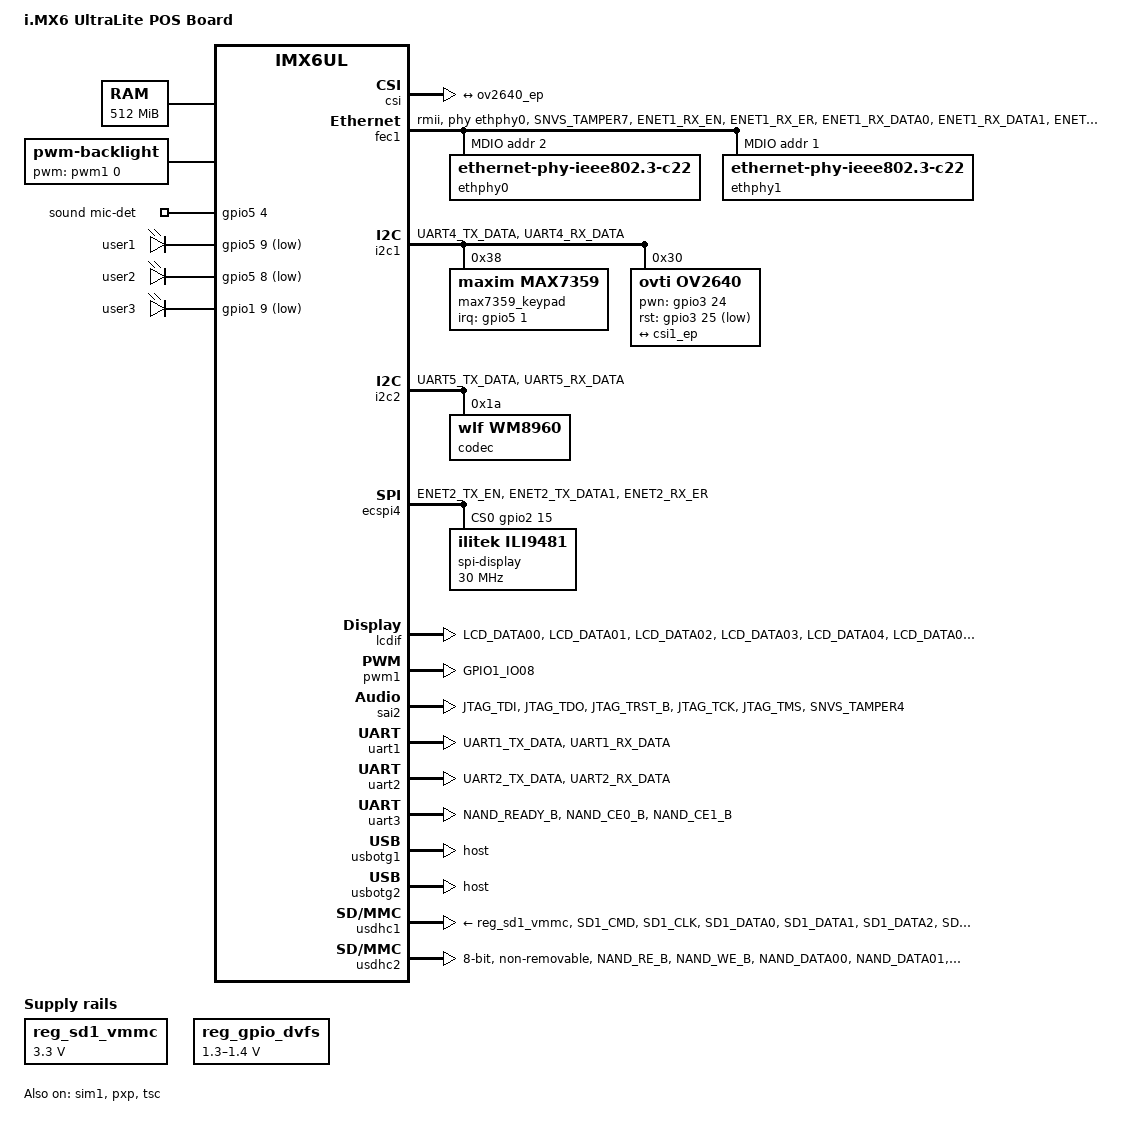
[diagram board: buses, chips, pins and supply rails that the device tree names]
/*
 * Copyright (C) 2015 Freescale Semiconductor, Inc.
 *
 * This program is free software; you can redistribute it and/or modify
 * it under the terms of the GNU General Public License version 2 as
 * published by the Free Software Foundation.
 */

/dts-v1/;

#include <dt-bindings/input/input.h>
#include "imx6ul.dtsi"

/ {
	model = "i.MX6 UltraLite POS Board";
	compatible = "fsl,imx6ul-14x14-evk", "fsl,imx6ul";

	chosen {
		stdout-path = &uart1;
	};

	memory {
		reg = <0x80000000 0x20000000>;
	};

	reserved-memory {
		#address-cells = <1>;
		#size-cells = <1>;
		ranges;

		linux,cma {
			compatible = "shared-dma-pool";
			reusable;
			size = <0x14000000>;
			linux,cma-default;
		};
	};

	backlight {
		compatible = "pwm-backlight";
		pwms = <&pwm1 0 1666666>;
		brightness-levels = <0 10 20 30 40 50 60 70 80 90 100>;
		default-brightness-level = <8>;
		status = "okay";
	};

	pxp_v4l2 {
		compatible = "fsl,imx6ul-pxp-v4l2", "fsl,imx6sx-pxp-v4l2", "fsl,imx6sl-pxp-v4l2";
		status = "okay";
	};

	regulators {
		compatible = "simple-bus";
		#address-cells = <1>;
		#size-cells = <0>;

		reg_sd1_vmmc: regulator@1 {
			compatible = "regulator-fixed";
			regulator-name = "VSD_3V3";
			regulator-min-microvolt = <3300000>;
			regulator-max-microvolt = <3300000>;
		};

		reg_gpio_dvfs: regulator-gpio {
			compatible = "regulator-gpio";
			pinctrl-names = "default";
			pinctrl-0 = <&pinctrl_dvfs>;
			regulator-min-microvolt = <1300000>;
			regulator-max-microvolt = <1400000>;
			regulator-name = "gpio_dvfs";
			regulator-type = "voltage";
			gpios = <&gpio5 3 GPIO_ACTIVE_HIGH>;
			states = <1300000 0x1 1400000 0x0>;
		};
	};

	sound {
		compatible = "fsl,imx6ul-evk-wm8960",
			   "fsl,imx-audio-wm8960";
		model = "wm8960-audio";
		cpu-dai = <&sai2>;
		audio-codec = <&codec>;
		asrc-controller = <&asrc>;
		codec-master;
		gpr = <&gpr 4 0x100000 0x100000>;
		/*
                 * hp-det = <hp-det-pin hp-det-polarity>;
		 * hp-det-pin: JD1 JD2  or JD3
		 * hp-det-polarity = 0: hp detect high for headphone
		 * hp-det-polarity = 1: hp detect high for speaker
		 */
		hp-det = <3 0>;
		/* hp-det-gpios = <&gpio5 4 0>; */
		mic-det-gpios = <&gpio5 4 0>;
		audio-routing =
			"Headphone Jack", "HP_L",
			"Headphone Jack", "HP_R",
			"Ext Spk", "SPK_LP",
			"Ext Spk", "SPK_LN",
			"Ext Spk", "SPK_RP",
			"Ext Spk", "SPK_RN",
			"LINPUT2", "Mic Jack",
			"LINPUT3", "Mic Jack",
			"RINPUT1", "Main MIC",
			"RINPUT2", "Main MIC",
			"Mic Jack", "MICB",
			"Main MIC", "MICB",
			"CPU-Playback", "ASRC-Playback",
			"Playback", "CPU-Playback",
			"ASRC-Capture", "CPU-Capture",
			"CPU-Capture", "Capture";
	};
	leds {
		compatible = "gpio-leds";
		pinctrl-names = "default";
		pinctrl-0 = <&pinctrl_gpio_leds>;

		led0: user1 {
			label = "user1";
			gpios = <&gpio5 9 GPIO_ACTIVE_LOW>; /* 102 -> MX6_PANLEDG */
			default-state = "off";
			linux,default-trigger = "mmc0";
		};

		led1: user2 {
			label = "user2";
			gpios = <&gpio5 8 GPIO_ACTIVE_LOW>; /* 106 -> MX6_PANLEDR */
			default-state = "off";
			linux,default-trigger = "heartbeat";
		};

		led2: user3 {
			label = "user3";
			gpios = <&gpio1 9 GPIO_ACTIVE_LOW>; /* 111 -> MX6_LOCLED# */
			default-state = "off";
			linux,default-trigger = "mmc1";
		};
	};
};

&cpu0 {
	arm-supply = <&reg_arm>;
	soc-supply = <&reg_soc>;
	dc-supply = <&reg_gpio_dvfs>;
};

&clks {
	assigned-clocks = <&clks IMX6UL_CLK_PLL4_AUDIO_DIV>;
	assigned-clock-rates = <786432000>;
};

&csi {
	status = "okay";

	port {
		csi1_ep: endpoint {
			remote-endpoint = <&ov2640_ep>;
		};
	};
};

&fec1 {
	pinctrl-names = "default";
	pinctrl-0 = <&pinctrl_enet1>;
	phy-mode = "rmii";
	phy-handle = <&ethphy0>;
	phy-reset-gpios = <&gpio5 7 GPIO_ACTIVE_LOW>;
	phy-reset-duration = <100>;
	status = "okay";
	
	mdio {
		#address-cells = <1>;
		#size-cells = <0>;

		ethphy0: ethernet-phy@2 {
			compatible = "ethernet-phy-ieee802.3-c22";
			reg = <2>;
		};
		ethphy1: ethernet-phy@1 {
			compatible = "ethernet-phy-ieee802.3-c22";
			reg = <1>;
		};
	};
};

&fec2 {
	status = "disabled";
};

&gpc {
	fsl,cpu_pupscr_sw2iso = <0x1>;
	fsl,cpu_pupscr_sw = <0x0>;
	fsl,cpu_pdnscr_iso2sw = <0x1>;
	fsl,cpu_pdnscr_iso = <0x1>;
	fsl,ldo-bypass = <0>; /* DCDC, ldo-enable */
};

&i2c1 {
	clock_frequency = <100000>;
	pinctrl-names = "default";
	pinctrl-0 = <&pinctrl_i2c1>;
	status = "okay";

	/* maxim keyboard max7359 */
	max7359_keypad@38 {
		pinctrl-0 = <&pinctrl_max7359>;
		compatible = "maxim,max7359";
		reg = <0x38>;
		interrupts = <1 IRQ_TYPE_LEVEL_LOW>;	/* gpio5[1] */
		interrupt-parent = <&gpio5>;
		maxim,debounce_reg = /bits/ 8 <0xB8>;
		maxim,ports_reg = /bits/ 8 <0x3F>;
		linux,keymap = <
			MATRIX_KEY(0, 0, KEY_1) /* row 0 col 0 */
			MATRIX_KEY(1, 0, KEY_4) /* row 1 col 0 */
			MATRIX_KEY(2, 0, KEY_7)
			MATRIX_KEY(3, 0, KEY_KPASTERISK)	/* s col 0~2 row 0~3*/
			MATRIX_KEY(4, 0, KEY_ESC)	/* s col 0~2 row 0~3*/
						
			MATRIX_KEY(0, 1, KEY_2)
			MATRIX_KEY(1, 1, KEY_5)
			MATRIX_KEY(2, 1, KEY_8)
			MATRIX_KEY(3, 1, KEY_0)
			MATRIX_KEY(4, 1, KEY_F2)	/* s col 0~2 row 0~3*/

			MATRIX_KEY(0, 2, KEY_3)
			MATRIX_KEY(1, 2, KEY_6)
			MATRIX_KEY(2, 2, KEY_9)
			MATRIX_KEY(3, 2, KEY_F1)
			MATRIX_KEY(4, 2, KEY_ENTER)	/* s col 0~2 row 0~3*/
		>;
	};
	/* camera */
	ov2640: ov2640@30 {
		compatible = "ovti,ov2640";
		reg = <0x30>;
		pinctrl-names = "default";
		pinctrl-0 = <&pinctrl_csi1
					&pinctrl_ov2640>;
		clocks = <&clks IMX6UL_CLK_CSI>;
		clock-names = "csi_mclk";
		pwn-gpios = <&gpio3 24 GPIO_ACTIVE_HIGH>;
		rst-gpios = <&gpio3 25 GPIO_ACTIVE_LOW>;
		csi_id = <0>;
		mclk = <24000000>;
		mclk_source = <0>;
		status = "okay";
		port {
			ov2640_ep: endpoint {
				remote-endpoint = <&csi1_ep>;
			};
		};
	};
};

&i2c2 {
	clock_frequency = <100000>;
	pinctrl-names = "default";
	pinctrl-0 = <&pinctrl_i2c2>;
	status = "okay";
	
	codec: wm8960@1a {
		compatible = "wlf,wm8960";
		reg = <0x1a>;
		clocks = <&clks IMX6UL_CLK_SAI2>;
		clock-names = "mclk";
		wlf,shared-lrclk;
	};
};

&ecspi4 {
	fsl,spi-num-chipselects = <1>;
	cs-gpios = <&gpio2 15 0>;
	pinctrl-names = "default";
	pinctrl-0 = <&pinctrl_ecspi4>;
	status = "okay";
	/* usepoll; */

	spi-display@0 {
		compatible = "ilitek,ili9481";
		reg = <0>;
		status = "okay";

		spi-max-frequency = <30000000>;
		rotate = <90>;
		bgr;
		fps = <30>;
		buswidth = <9>;
		/* reset-gpios = <&gpio 23 0>; */
		/* dc-gpios = <&gpio 24 0>; */
		/* led-gpios = <&gpio 18 1>; */
		debug = <0>;
		txbuflen = <0x10000>;
	};
};

&sim1 {
	pinctrl-names = "default";
	pinctrl-0 = <&pinctrl_sim1>;
	clocks = <&clks IMX6UL_CLK_SIM1>;
	clock-names = "sim";
	status = "okay";
};

&iomuxc {
	pinctrl-names = "default";
	pinctrl-0 = <&pinctrl_hog_1>;
	imx6ul-evk {
		pinctrl_sim1: sim1grp {
			fsl,pins = <
				MX6UL_PAD_ENET2_RX_EN__SIM1_PORT0_RST_B		0x170b0
				MX6UL_PAD_ENET2_RX_DATA0__SIM1_PORT0_TRXD	0x178b0
				MX6UL_PAD_ENET2_RX_DATA1__SIM1_PORT0_CLK	0x170b0
			>;
		};
		pinctrl_max7359: ma7359grp {
			fsl,pins = <
				MX6UL_PAD_SNVS_TAMPER1__GPIO5_IO01	0x80000000
			>;
		};
		pinctrl_hog_1: hoggrp-1 {
			fsl,pins = <
				MX6UL_PAD_UART1_RTS_B__GPIO1_IO19	0x17059 /* SD1 CD */
				MX6UL_PAD_GPIO1_IO05__USDHC1_VSELECT	0x17059 /* SD1 VSELECT */
				/* MX6UL_PAD_GPIO1_IO09__GPIO1_IO09        0x17059 SD1 RESET */
				MX6UL_PAD_SNVS_TAMPER0__GPIO5_IO00	0x80000000
				MX6UL_PAD_UART2_RTS_B__GPIO1_IO23	0x17059 /* LCD NPWREN */
				MX6UL_PAD_UART3_CTS_B__GPIO1_IO26	0x17059	/* 4G POWER KEY */
				MX6UL_PAD_UART3_RTS_B__GPIO1_IO27	0x17059	/* 4G RESET */
			>;
		};
		pinctrl_csi1: csi1grp {
			fsl,pins = <
				MX6UL_PAD_CSI_MCLK__CSI_MCLK		0x1b088
				MX6UL_PAD_CSI_PIXCLK__CSI_PIXCLK	0x1b088
				MX6UL_PAD_CSI_VSYNC__CSI_VSYNC		0x1b088
				MX6UL_PAD_CSI_HSYNC__CSI_HSYNC		0x1b088
				MX6UL_PAD_CSI_DATA00__CSI_DATA02	0x1b088
				MX6UL_PAD_CSI_DATA01__CSI_DATA03	0x1b088
				MX6UL_PAD_CSI_DATA02__CSI_DATA04	0x1b088
				MX6UL_PAD_CSI_DATA03__CSI_DATA05	0x1b088
				MX6UL_PAD_CSI_DATA04__CSI_DATA06	0x1b088
				MX6UL_PAD_CSI_DATA05__CSI_DATA07	0x1b088
				MX6UL_PAD_CSI_DATA06__CSI_DATA08	0x1b088
				MX6UL_PAD_CSI_DATA07__CSI_DATA09	0x1b088
			>;
		};
		pinctrl_ov2640: ov2640grp {
			fsl,pins = <
				MX6UL_PAD_UART3_RX_DATA__GPIO1_IO25	0x17059	/* camera pwdn */
				MX6UL_PAD_UART3_TX_DATA__GPIO1_IO24	0x17059	/* camera reset */
			>;
		};
		pinctrl_dvfs: dvfsgrp {
			fsl,pins = <
				MX6UL_PAD_SNVS_TAMPER3__GPIO5_IO03	0x79
			>;
		};

		pinctrl_enet1: enet1grp {
			fsl,pins = <
				MX6UL_PAD_SNVS_TAMPER7__GPIO5_IO07	0x17059
				MX6UL_PAD_ENET1_RX_EN__ENET1_RX_EN	0x1b0b0
				MX6UL_PAD_ENET1_RX_ER__ENET1_RX_ER	0x1b0b0
				MX6UL_PAD_ENET1_RX_DATA0__ENET1_RDATA00	0x1b0b0
				MX6UL_PAD_ENET1_RX_DATA1__ENET1_RDATA01	0x1b0b0
				MX6UL_PAD_ENET1_TX_EN__ENET1_TX_EN	0x1b0b0
				MX6UL_PAD_ENET1_TX_DATA0__ENET1_TDATA00	0x1b0b0
				MX6UL_PAD_ENET1_TX_DATA1__ENET1_TDATA01	0x1b0b0
				MX6UL_PAD_ENET1_TX_CLK__ENET1_REF_CLK1	0x4001b031
				MX6UL_PAD_GPIO1_IO07__ENET1_MDC		0x1b0b0
				MX6UL_PAD_GPIO1_IO06__ENET1_MDIO	0x1b0b0
			>;
		};

		pinctrl_ecspi4: ecspi4grp {
			fsl,pins = <
				/* MX6UL_PAD_ENET2_TX_CLK__ECSPI4_MISO		0x100b1 */
				MX6UL_PAD_ENET2_TX_EN__ECSPI4_MOSI		0x1b0b1
				MX6UL_PAD_ENET2_TX_DATA1__ECSPI4_SCLK	0x1b0b1
				MX6UL_PAD_ENET2_RX_ER__ECSPI4_SS0		0x1b0b1
			>;
		};
		pinctrl_i2c1: i2c1grp {
			fsl,pins = <
				MX6UL_PAD_UART4_TX_DATA__I2C1_SCL 0x4001b8b0
				MX6UL_PAD_UART4_RX_DATA__I2C1_SDA 0x4001b8b0
			>;
		};

		pinctrl_i2c2: i2c2grp {
			fsl,pins = <
				MX6UL_PAD_UART5_TX_DATA__I2C2_SCL 0x4001b8b0
				MX6UL_PAD_UART5_RX_DATA__I2C2_SDA 0x4001b8b0
			>;
		};

		pinctrl_lcdif_dat: lcdifdatgrp {
			fsl,pins = <
				MX6UL_PAD_LCD_DATA00__LCDIF_DATA00  0x79
				MX6UL_PAD_LCD_DATA01__LCDIF_DATA01  0x79
				MX6UL_PAD_LCD_DATA02__LCDIF_DATA02  0x79
				MX6UL_PAD_LCD_DATA03__LCDIF_DATA03  0x79
				MX6UL_PAD_LCD_DATA04__LCDIF_DATA04  0x79
				MX6UL_PAD_LCD_DATA05__LCDIF_DATA05  0x79
				MX6UL_PAD_LCD_DATA06__LCDIF_DATA06  0x79
				MX6UL_PAD_LCD_DATA07__LCDIF_DATA07  0x79
				MX6UL_PAD_LCD_DATA08__LCDIF_DATA08  0x79
				MX6UL_PAD_LCD_DATA09__LCDIF_DATA09  0x79
				MX6UL_PAD_LCD_DATA10__LCDIF_DATA10  0x79
				MX6UL_PAD_LCD_DATA11__LCDIF_DATA11  0x79
				MX6UL_PAD_LCD_DATA12__LCDIF_DATA12  0x79
				MX6UL_PAD_LCD_DATA13__LCDIF_DATA13  0x79
				MX6UL_PAD_LCD_DATA14__LCDIF_DATA14  0x79
				MX6UL_PAD_LCD_DATA15__LCDIF_DATA15  0x79
				MX6UL_PAD_LCD_DATA16__LCDIF_DATA16  0x79
				MX6UL_PAD_LCD_DATA17__LCDIF_DATA17  0x79
				MX6UL_PAD_LCD_DATA18__LCDIF_DATA18  0x79
				MX6UL_PAD_LCD_DATA19__LCDIF_DATA19  0x79
				MX6UL_PAD_LCD_DATA20__LCDIF_DATA20  0x79
				MX6UL_PAD_LCD_DATA21__LCDIF_DATA21  0x79
				MX6UL_PAD_LCD_DATA22__LCDIF_DATA22  0x79
				MX6UL_PAD_LCD_DATA23__LCDIF_DATA23  0x79
			>;
		};

		pinctrl_lcdif_ctrl: lcdifctrlgrp {
			fsl,pins = <
				MX6UL_PAD_LCD_CLK__LCDIF_CLK	    0x79
				MX6UL_PAD_LCD_ENABLE__LCDIF_ENABLE  0x79
				MX6UL_PAD_LCD_HSYNC__LCDIF_HSYNC    0x79
				MX6UL_PAD_LCD_VSYNC__LCDIF_VSYNC    0x79
				/* used for lcd reset */
				/* MX6UL_PAD_SNVS_TAMPER9__GPIO5_IO09  0x79 */
			>;
		};

		pinctrl_pwm1: pwm1grp {
			fsl,pins = <
				MX6UL_PAD_GPIO1_IO08__PWM1_OUT   0x110b0
			>;
		};

		pinctrl_tsc: tscgrp {
			fsl,pins = <
				MX6UL_PAD_GPIO1_IO01__GPIO1_IO01	0xb0
				MX6UL_PAD_GPIO1_IO02__GPIO1_IO02	0xb0
				MX6UL_PAD_GPIO1_IO03__GPIO1_IO03	0xb0
				MX6UL_PAD_GPIO1_IO04__GPIO1_IO04	0xb0
			>;
		};
		
		pinctrl_sai2: sai2grp {
			fsl,pins = <
				MX6UL_PAD_JTAG_TDI__SAI2_TX_BCLK	0x17088
				MX6UL_PAD_JTAG_TDO__SAI2_TX_SYNC	0x17088
				MX6UL_PAD_JTAG_TRST_B__SAI2_TX_DATA	0x11088
				MX6UL_PAD_JTAG_TCK__SAI2_RX_DATA	0x11088
				MX6UL_PAD_JTAG_TMS__SAI2_MCLK		0x17088
				MX6UL_PAD_SNVS_TAMPER4__GPIO5_IO04	0x17059
			>;
		};

		pinctrl_uart1: uart1grp {
			fsl,pins = <
				MX6UL_PAD_UART1_TX_DATA__UART1_DCE_TX 0x1b0b1
				MX6UL_PAD_UART1_RX_DATA__UART1_DCE_RX 0x1b0b1
			>;
		};

		pinctrl_uart2: uart2grp {
			fsl,pins = <
				MX6UL_PAD_UART2_TX_DATA__UART2_DCE_TX	0x1b0b1
				MX6UL_PAD_UART2_RX_DATA__UART2_DCE_RX	0x1b0b1
			>;
		};
		
		pinctrl_uart3: uart3grp {
			fsl,pins = <
				MX6UL_PAD_NAND_READY_B__UART3_DCE_TX	0x1b0b1
				MX6UL_PAD_NAND_CE0_B__UART3_DCE_RX		0x1b0b1
				MX6UL_PAD_NAND_CE1_B__UART3_DCE_CTS 	0x1b0b1
			>;
		};

		pinctrl_usdhc1: usdhc1grp {
			fsl,pins = <
				MX6UL_PAD_SD1_CMD__USDHC1_CMD     0x17059
				MX6UL_PAD_SD1_CLK__USDHC1_CLK     0x10071
				MX6UL_PAD_SD1_DATA0__USDHC1_DATA0 0x17059
				MX6UL_PAD_SD1_DATA1__USDHC1_DATA1 0x17059
				MX6UL_PAD_SD1_DATA2__USDHC1_DATA2 0x17059
				MX6UL_PAD_SD1_DATA3__USDHC1_DATA3 0x17059
			>;
		};

		pinctrl_usdhc1_100mhz: usdhc1grp100mhz {
			fsl,pins = <
				MX6UL_PAD_SD1_CMD__USDHC1_CMD     0x170b9
				MX6UL_PAD_SD1_CLK__USDHC1_CLK     0x100b9
				MX6UL_PAD_SD1_DATA0__USDHC1_DATA0 0x170b9
				MX6UL_PAD_SD1_DATA1__USDHC1_DATA1 0x170b9
				MX6UL_PAD_SD1_DATA2__USDHC1_DATA2 0x170b9
				MX6UL_PAD_SD1_DATA3__USDHC1_DATA3 0x170b9
			>;
		};

		pinctrl_usdhc1_200mhz: usdhc1grp200mhz {
			fsl,pins = <
				MX6UL_PAD_SD1_CMD__USDHC1_CMD     0x170f9
				MX6UL_PAD_SD1_CLK__USDHC1_CLK     0x100f9
				MX6UL_PAD_SD1_DATA0__USDHC1_DATA0 0x170f9
				MX6UL_PAD_SD1_DATA1__USDHC1_DATA1 0x170f9
				MX6UL_PAD_SD1_DATA2__USDHC1_DATA2 0x170f9
				MX6UL_PAD_SD1_DATA3__USDHC1_DATA3 0x170f9
			>;
		};

		pinctrl_usdhc2: usdhc2grp {
			fsl,pins = <
				MX6UL_PAD_NAND_RE_B__USDHC2_CLK     0x10069
				MX6UL_PAD_NAND_WE_B__USDHC2_CMD     0x17059
				MX6UL_PAD_NAND_DATA00__USDHC2_DATA0 0x17059
				MX6UL_PAD_NAND_DATA01__USDHC2_DATA1 0x17059
				MX6UL_PAD_NAND_DATA02__USDHC2_DATA2 0x17059
				MX6UL_PAD_NAND_DATA03__USDHC2_DATA3 0x17059
			>;
		};

		pinctrl_usdhc2_8bit: usdhc2grp_8bit {
			fsl,pins = <
				MX6UL_PAD_NAND_RE_B__USDHC2_CLK     0x10069
				MX6UL_PAD_NAND_WE_B__USDHC2_CMD     0x17059
				MX6UL_PAD_NAND_DATA00__USDHC2_DATA0 0x17059
				MX6UL_PAD_NAND_DATA01__USDHC2_DATA1 0x17059
				MX6UL_PAD_NAND_DATA02__USDHC2_DATA2 0x17059
				MX6UL_PAD_NAND_DATA03__USDHC2_DATA3 0x17059
				MX6UL_PAD_NAND_DATA04__USDHC2_DATA4 0x17059
				MX6UL_PAD_NAND_DATA05__USDHC2_DATA5 0x17059
				MX6UL_PAD_NAND_DATA06__USDHC2_DATA6 0x17059
				MX6UL_PAD_NAND_DATA07__USDHC2_DATA7 0x17059
			>;
		};

		pinctrl_usdhc2_8bit_100mhz: usdhc2grp_8bit_100mhz {
			fsl,pins = <
				MX6UL_PAD_NAND_RE_B__USDHC2_CLK     0x100b9
				MX6UL_PAD_NAND_WE_B__USDHC2_CMD     0x170b9
				MX6UL_PAD_NAND_DATA00__USDHC2_DATA0 0x170b9
				MX6UL_PAD_NAND_DATA01__USDHC2_DATA1 0x170b9
				MX6UL_PAD_NAND_DATA02__USDHC2_DATA2 0x170b9
				MX6UL_PAD_NAND_DATA03__USDHC2_DATA3 0x170b9
				MX6UL_PAD_NAND_DATA04__USDHC2_DATA4 0x170b9
				MX6UL_PAD_NAND_DATA05__USDHC2_DATA5 0x170b9
				MX6UL_PAD_NAND_DATA06__USDHC2_DATA6 0x170b9
				MX6UL_PAD_NAND_DATA07__USDHC2_DATA7 0x170b9
			>;
		};

		pinctrl_usdhc2_8bit_200mhz: usdhc2grp_8bit_200mhz {
			fsl,pins = <
				MX6UL_PAD_NAND_RE_B__USDHC2_CLK     0x100f9
				MX6UL_PAD_NAND_WE_B__USDHC2_CMD     0x170f9
				MX6UL_PAD_NAND_DATA00__USDHC2_DATA0 0x170f9
				MX6UL_PAD_NAND_DATA01__USDHC2_DATA1 0x170f9
				MX6UL_PAD_NAND_DATA02__USDHC2_DATA2 0x170f9
				MX6UL_PAD_NAND_DATA03__USDHC2_DATA3 0x170f9
				MX6UL_PAD_NAND_DATA04__USDHC2_DATA4 0x170f9
				MX6UL_PAD_NAND_DATA05__USDHC2_DATA5 0x170f9
				MX6UL_PAD_NAND_DATA06__USDHC2_DATA6 0x170f9
				MX6UL_PAD_NAND_DATA07__USDHC2_DATA7 0x170f9
			>;
		};

		pinctrl_wdog: wdoggrp {
			fsl,pins = <
				MX6UL_PAD_LCD_RESET__WDOG1_WDOG_ANY    0x30b0
			>;
		};
		
		pinctrl_gpio_leds: gpioledsgrp {
			fsl,pins = <
				MX6UL_PAD_SNVS_TAMPER9__GPIO5_IO09	0x79 /* user1 led */
				MX6UL_PAD_SNVS_TAMPER8__GPIO5_IO08	0x17059 /* user2 led */
				MX6UL_PAD_GPIO1_IO09__GPIO1_IO09	0x17059 /* user3 led */
			>;
		};
	};
};

&lcdif {
	pinctrl-names = "default";
	pinctrl-0 = <&pinctrl_lcdif_dat
		     &pinctrl_lcdif_ctrl>;
	display = <&display0>;
	status = "okay";

	display0: display {
		bits-per-pixel = <32>;
		bus-width = <24>;

		display-timings {
			native-mode = <&timing0>;
			timing0: timing0 {
				clock-frequency = <33000000>;
				hactive = <800>;
				vactive = <480>;
				hfront-porch = <121>;
				hback-porch = <88>;
				hsync-len = <48>;
				vback-porch = <39>;
				vfront-porch = <21>;
				vsync-len = <3>;

				hsync-active = <0>;
				vsync-active = <0>;
				de-active = <1>;
				pixelclk-active = <0>;
			};
		};
	};
};

&pwm1 {
	pinctrl-names = "default";
	pinctrl-0 = <&pinctrl_pwm1>;
	status = "okay";
};

&pxp {
	status = "okay";
};

&sai2 {
	pinctrl-names = "default";
	pinctrl-0 = <&pinctrl_sai2>;

	assigned-clocks = <&clks IMX6UL_CLK_SAI2_SEL>,
			  <&clks IMX6UL_CLK_SAI2>;
	assigned-clock-parents = <&clks IMX6UL_CLK_PLL4_AUDIO_DIV>;
	assigned-clock-rates = <0>, <12288000>;

	status = "okay";
};

&tsc {
	pinctrl-names = "default";
	pinctrl-0 = <&pinctrl_tsc>;
	xnur-gpio = <&gpio1 3 GPIO_ACTIVE_LOW>;
	measure-delay-time = <0xffff>;
	pre-charge-time = <0xfff>;
	status = "okay";
};

&uart1 {
	pinctrl-names = "default";
	pinctrl-0 = <&pinctrl_uart1>;
	status = "okay";
};

&uart2 {
	pinctrl-names = "default";
	pinctrl-0 = <&pinctrl_uart2>;
	status = "okay";
};

&uart3 {
	pinctrl-names = "default";
	pinctrl-0 = <&pinctrl_uart3>;
	fsl,uart-has-rtscts;
	rs485-rts-active-high;
	rs485-rts-delay = <0 0>;
	linux,rs485-enabled-at-boot-time;
	status = "okay";
};

&usbotg1 {
	dr_mode = "host";
	disable-over-current;
	status = "okay";
};

&usbotg2 {
	dr_mode = "host";
	disable-over-current;
	status = "okay";
};

&usbphy1 {
	tx-d-cal = <0x5>;
};

&usbphy2 {
	tx-d-cal = <0x5>;
};

&usdhc1 {
	pinctrl-names = "default", "state_100mhz", "state_200mhz";
	pinctrl-0 = <&pinctrl_usdhc1>;
	pinctrl-1 = <&pinctrl_usdhc1_100mhz>;
	pinctrl-2 = <&pinctrl_usdhc1_200mhz>;
	cd-gpios = <&gpio1 19 GPIO_ACTIVE_LOW>;
	keep-power-in-suspend;
	enable-sdio-wakeup;
	vmmc-supply = <&reg_sd1_vmmc>;
	status = "okay";
};

&usdhc2 {
	pinctrl-names = "default", "state_100mhz", "state_200mhz";
	pinctrl-0 = <&pinctrl_usdhc2_8bit>;
	pinctrl-1 = <&pinctrl_usdhc2_8bit_100mhz>;
	pinctrl-2 = <&pinctrl_usdhc2_8bit_200mhz>;
	bus-width = <8>;
	/* no-1-8-v; */
	non-removable;
	/* keep-power-in-suspend; */
	/* enable-sdio-wakeup; */
	status = "okay";
};

&wdog1 {
	pinctrl-names = "default";
	pinctrl-0 = <&pinctrl_wdog>;
	fsl,wdog_b;
};
